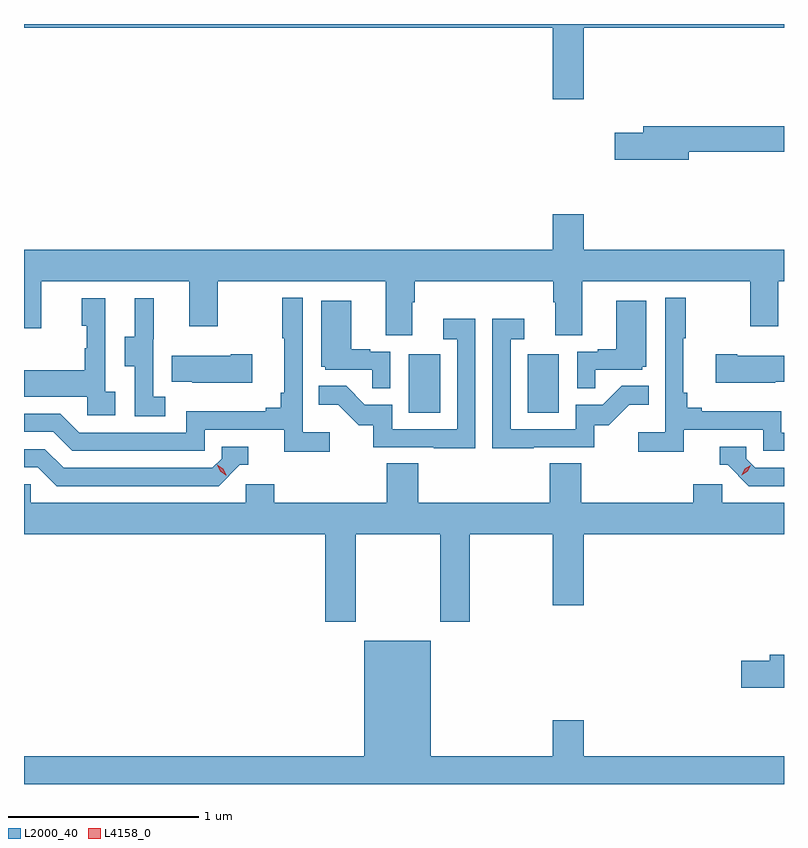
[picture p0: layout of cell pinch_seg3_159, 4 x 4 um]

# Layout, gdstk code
import gdstk
lib = gdstk.Library(unit=1e-6, precision=1e-09)
def R(c, l, rs):  # rectangles x0, y0, x1, y1
    for r in rs: c.add(gdstk.rectangle(r[:2], r[2:], *l))
def P(c, l, *ps):  # polygons
    for p in ps: c.add(gdstk.Polygon(p, *l))
L2000_40 = (2000, 40)
L4158_0 = (4158, 0)

pinch_seg3_159 = lib.new_cell('pinch_seg3_159')
R(pinch_seg3_159, L2000_40, [(1111.304,717.54,1111.468,717.847), (1111.928,717.54,1112.092,717.847)])
P(pinch_seg3_159, L2000_40, [(1112.224,719.564),(1113.278,719.564),(1113.278,719.585),(1109.278,719.585),(1109.278,719.564),(1112.06,719.564),(1112.06,719.19),(1112.224,719.19)],
  [(1112.776,718.912),(1113.278,718.912),(1113.278,719.048),(1112.537,719.048),(1112.537,719.012),(1112.388,719.012),(1112.388,718.87),(1112.776,718.87)],
  [(1111.321,718.12),(1111.334,718.12),(1111.334,718.232),(1112.063,718.232),(1112.063,718.12),(1112.075,718.12),(1112.075,717.946),(1112.215,717.946),(1112.215,718.232),(1113.1,718.232),(1113.1,717.993),(1113.247,717.993),(1113.247,718.232),(1113.278,718.232),(1113.278,718.396),(1112.224,718.396),(1112.224,718.585),(1112.06,718.585),(1112.06,718.396),(1109.278,718.396),(1109.278,717.984),(1109.369,717.984),(1109.369,718.232),(1110.149,718.232),(1110.149,717.993),(1110.297,717.993),(1110.297,718.232),(1111.181,718.232),(1111.181,717.946),(1111.321,717.946)],
  [(1112.75,717.45),(1113.168,717.45),(1113.168,717.339),(1113.278,717.339),(1113.278,717.435),(1113.264,717.435),(1113.264,717.547),(1112.845,717.547),(1112.845,717.566),(1112.768,717.566),(1112.768,717.643),(1112.749,717.643),(1112.749,717.931),(1112.761,717.931),(1112.761,718.144),(1112.652,718.144),(1112.652,717.436),(1112.511,717.436),(1112.511,717.334),(1112.75,717.334)],
  [(1110.886,717.436),(1110.744,717.436),(1110.744,718.144),(1110.636,718.144),(1110.636,717.931),(1110.647,717.931),(1110.647,717.643),(1110.628,717.643),(1110.628,717.566),(1110.551,717.566),(1110.551,717.547),(1110.132,717.547),(1110.132,717.435),(1109.568,717.435),(1109.469,717.534),(1109.278,717.534),(1109.278,717.438),(1109.432,717.438),(1109.531,717.339),(1110.228,717.339),(1110.228,717.45),(1110.647,717.45),(1110.647,717.334),(1110.886,717.334)],
  [(1110.022,717.623),(1109.958,717.623),(1109.958,717.927),(1109.96,717.927),(1109.96,718.141),(1109.861,718.141),(1109.861,717.939),(1109.807,717.939),(1109.807,717.784),(1109.862,717.784),(1109.862,717.52),(1110.022,717.52)],
  [(1109.758,717.65),(1109.706,717.65),(1109.706,718.141),(1109.582,718.141),(1109.582,717.996),(1109.608,717.996),(1109.608,717.878),(1109.598,717.878),(1109.598,717.763),(1109.278,717.763),(1109.278,717.623),(1109.61,717.623),(1109.61,717.525),(1109.758,717.525)],
  [(1112.285,717.765),(1112.532,717.765),(1112.532,717.78),(1112.554,717.78),(1112.554,718.129),(1112.396,718.129),(1112.396,717.874),(1112.297,717.874),(1112.297,717.861),(1112.19,717.861),(1112.19,717.667),(1112.285,717.667)],
  [(1111.206,717.861),(1111.1,717.861),(1111.1,717.874),(1111,717.874),(1111,718.129),(1110.842,718.129),(1110.842,717.78),(1110.864,717.78),(1110.864,717.765),(1111.111,717.765),(1111.111,717.667),(1111.206,717.667)],
  [(1111.961,717.357),(1112.28,717.357),(1112.28,717.474),(1112.356,717.474),(1112.463,717.581),(1112.567,717.581),(1112.567,717.68),(1112.423,717.68),(1112.325,717.582),(1112.181,717.582),(1112.181,717.453),(1111.839,717.453),(1111.839,717.927),(1111.912,717.927),(1111.912,718.033),(1111.743,718.033),(1111.743,717.352),(1111.961,717.352)],
  [(1111.653,718.033),(1111.485,718.033),(1111.485,717.927),(1111.557,717.927),(1111.557,717.453),(1111.215,717.453),(1111.215,717.582),(1111.071,717.582),(1110.973,717.68),(1110.829,717.68),(1110.829,717.581),(1110.933,717.581),(1111.04,717.474),(1111.117,717.474),(1111.117,717.357),(1111.435,717.357),(1111.435,717.352),(1111.653,717.352)],
  [(1110.478,717.846),(1110.365,717.846),(1110.365,717.838),(1110.055,717.838),(1110.055,717.701),(1110.163,717.701),(1110.163,717.698),(1110.478,717.698)],
  [(1113.233,717.701),(1113.278,717.701),(1113.278,717.838),(1113.031,717.838),(1113.031,717.846),(1112.919,717.846),(1112.919,717.698),(1113.233,717.698)],
  [(1110.414,717.264),(1110.457,717.264),(1110.457,717.36),(1110.318,717.36),(1110.318,717.297),(1110.27,717.249),(1109.487,717.249),(1109.388,717.348),(1109.278,717.348),(1109.278,717.252),(1109.351,717.252),(1109.45,717.153),(1110.303,717.153)],
  [(1113.278,717.249),(1113.126,717.249),(1113.078,717.297),(1113.078,717.36),(1112.939,717.36),(1112.939,717.264),(1112.982,717.264),(1113.093,717.153),(1113.278,717.153)],
  [(1111.468,716.439),(1111.623,716.439),(1111.623,716.9),(1112.06,716.9),(1112.06,716.526),(1112.224,716.526),(1112.224,716.9),(1113.278,716.9),(1113.278,717.064),(1112.952,717.064),(1112.952,717.162),(1112.801,717.162),(1112.801,717.064),(1112.21,717.064),(1112.21,717.272),(1112.045,717.272),(1112.045,717.064),(1111.352,717.064),(1111.352,717.272),(1111.187,717.272),(1111.187,717.064),(1110.596,717.064),(1110.596,717.162),(1110.444,717.162),(1110.444,717.064),(1109.313,717.064),(1109.313,717.162),(1109.278,717.162),(1109.278,716.9),(1110.863,716.9),(1110.863,716.439),(1111.023,716.439),(1111.023,716.9),(1111.468,716.9)],
  [(1113.278,715.732),(1112.224,715.732),(1112.224,715.921),(1112.06,715.921),(1112.06,715.732),(1111.42,715.732),(1111.42,716.338),(1111.07,716.338),(1111.07,715.732),(1109.278,715.732),(1109.278,715.585),(1113.278,715.585)],
  [(1113.278,716.264),(1113.203,716.264),(1113.203,716.234),(1113.054,716.234),(1113.054,716.092),(1113.278,716.092)])
P(pinch_seg3_159, L4158_0, [(1110.341,717.211),(1110.311,717.231),(1110.295,717.264),(1110.295,717.264),(1110.295,717.264),(1110.326,717.244),(1110.342,717.211),(1110.342,717.211)],
  [(1113.055,717.21),(1113.055,717.21),(1113.072,717.243),(1113.103,717.263),(1113.103,717.263),(1113.103,717.262),(1113.086,717.23),(1113.055,717.21)])

lib.write_gds('pinch_seg3_159.gds')
